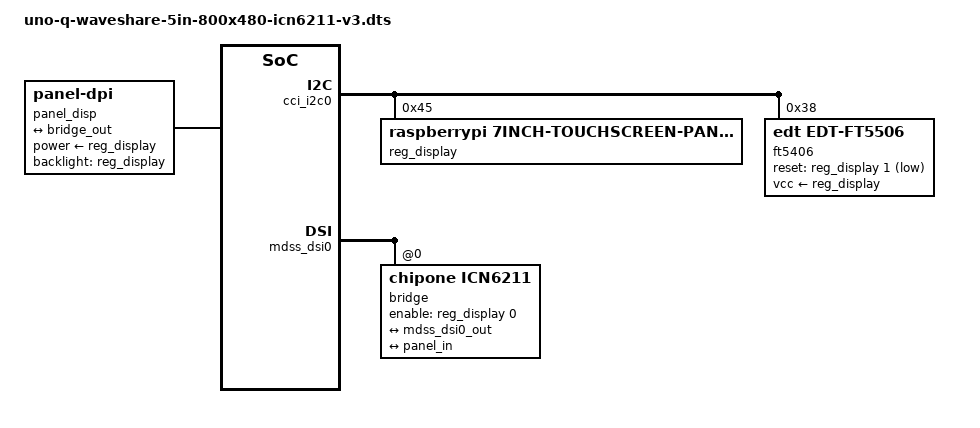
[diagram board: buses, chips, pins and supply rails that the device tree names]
// SPDX-License-Identifier: GPL-2.0
/*
 * Arduino UNO Q + UNO Media Carrier + Waveshare 5inch DSI LCD (800x480)
 * VERSION 3 - for the CHIPONE ICN6211 bridge.
 *
 * v1 and v2 both declared a Toshiba TC358762. The panel actually carries a
 * Chipone ICN6211 DSI-to-RGB bridge (confirmed from the silkscreen). That is a
 * completely different device: different init, different registers, different
 * DSI link configuration. Configuring a TC358762 that is not on the board
 * explains a fully working DSI link, a powered panel, a lit backlight and no
 * image, with no error reported anywhere - the SoC believed it had succeeded.
 *
 * Differences that matter, from chipone-icn6211.c:
 *
 *   dsi->lanes      = read from the DT endpoint's data-lanes (defaults to 4).
 *                     The TC358762 driver hardcoded 1. This panel wires two
 *                     lanes on its FPC (DSI1_D0 and DSI1_D1), so use <0 1>.
 *   dsi->format     = MIPI_DSI_FMT_RGB888
 *   dsi->mode_flags = VIDEO | VIDEO_BURST | LPM | NO_EOT_PACKET
 *                     (the TC358762 used VIDEO | SYNC_PULSE | LPM | HSE)
 *
 * The binding REQUIRES enable-gpios ("chip is reset when EN is low"), unlike
 * the TC358762 where reset-gpios was optional. vdd1/vdd2/vdd3 are optional.
 *
 * Reference: Documentation/devicetree/bindings/display/bridge/chipone,icn6211.yaml
 *
 * Build:
 *   dtc -@ -I dts -O dtb -o uno-q-waveshare-5in-800x480-icn6211-v3.dtbo <this file>
 */

/dts-v1/;
/plugin/;

/ {
	/* ---- I2C: panel controller and touch, on the carrier's CCI bus ---- */
	fragment@0 {
		target = <&cci_i2c0>;
		__overlay__ {
			#address-cells = <1>;
			#size-cells = <0>;

			reg_display: regulator@45 {
				compatible = "raspberrypi,7inch-touchscreen-panel-regulator";
				reg = <0x45>;
				gpio-controller;
				#gpio-cells = <2>;
			};

			ft5406: touchscreen@38 {
				compatible = "edt,edt-ft5506";
				reg = <0x38>;
				vcc-supply = <&reg_display>;
				reset-gpio = <&reg_display 1 1>;
				touchscreen-size-x = <800>;
				touchscreen-size-y = <480>;
				touchscreen-inverted-x;
				touchscreen-inverted-y;
			};
		};
	};

	/* ---- the 800x480 RGB panel on the bridge's DPI output ---- */
	fragment@1 {
		target-path = "/";
		__overlay__ {
			panel_disp: panel-dpi {
				compatible = "panel-dpi";
				power-supply = <&reg_display>;
				backlight = <&reg_display>;
				width-mm = <109>;
				height-mm = <65>;

				panel-timing {
					clock-frequency = <30000000>;
					hactive = <800>;
					hfront-porch = <131>;
					hsync-len = <2>;
					hback-porch = <45>;
					vactive = <480>;
					vfront-porch = <7>;
					vsync-len = <2>;
					vback-porch = <22>;
					hsync-active = <0>;
					vsync-active = <0>;
					de-active = <1>;
					pixelclk-active = <1>;
				};

				port {
					panel_in: endpoint {
						remote-endpoint = <&bridge_out>;
					};
				};
			};
		};
	};

	/* ---- the ICN6211 bridge on the DSI host ---- */
	fragment@2 {
		target = <&mdss_dsi0>;
		__overlay__ {
			#address-cells = <1>;
			#size-cells = <0>;
			vdda-supply = <&pm4125_l5>;
			status = "okay";

			bridge@0 {
				compatible = "chipone,icn6211";
				reg = <0>;
				/* REQUIRED by the binding: EN low holds the chip in reset.
				 * gpio 0 of the panel controller is the line that was wired
				 * as the bridge reset in the RPi-style design.
				 */
				enable-gpios = <&reg_display 0 0>;

				ports {
					#address-cells = <1>;
					#size-cells = <0>;

					port@0 {
						reg = <0>;
						bridge_in: endpoint {
							remote-endpoint = <&mdss_dsi0_out>;
							/* the driver reads the lane count from HERE */
							data-lanes = <1 2>;
						};
					};

					port@1 {
						reg = <1>;
						bridge_out: endpoint {
							remote-endpoint = <&panel_in>;
						};
					};
				};
			};
		};
	};

	/* ---- DSI host output: two lanes ---- */
	fragment@3 {
		target = <&mdss_dsi0_out>;
		__overlay__ {
			remote-endpoint = <&bridge_in>;
			data-lanes = <0 1>;
		};
	};
};
